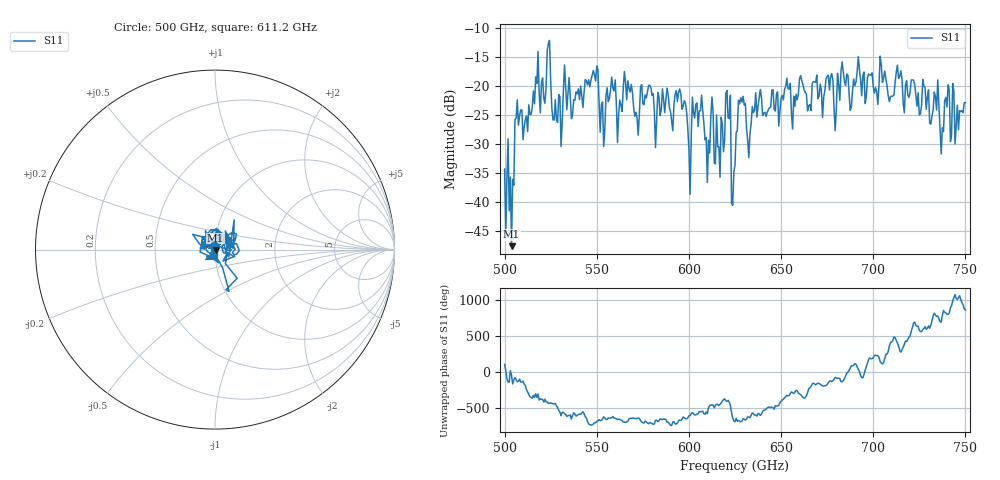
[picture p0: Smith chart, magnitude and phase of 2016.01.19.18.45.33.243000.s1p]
!Created with skrf (http://scikit-rf.org).
# GHz S RI R 50.0
!freq ReS11 ImS11
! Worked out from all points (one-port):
!   401 points, 500 GHz to 750 GHz, reference 50 ohm
!   lowest |S11| = -47.7 dB at 503.8 GHz (marker M1), VSWR 1.01, Z = 50.3 - j0.28 ohm
!   |S11| at or under -10 dB: start of sweep to end of sweep
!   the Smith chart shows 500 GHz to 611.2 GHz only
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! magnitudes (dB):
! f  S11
! 500 GHz  -34.4
! 503.8 GHz  -47.7
! 506.9 GHz  -22.5
! 523.8 GHz  -12.7
! 526.9 GHz  -25.9
! 531.2 GHz  -26.2
! 549.4 GHz  -19.2
! 553.1 GHz  -22.8
! 558.8 GHz  -20.4
! 562.5 GHz  -22.5
! 565.6 GHz  -19.4
! 571.9 GHz  -25.6
! 593.8 GHz  -22.7
! 600 GHz  -31.0
! 606.9 GHz  -21.6
! 610 GHz  -36.7
! 621.2 GHz  -25.5
! 625 GHz  -33.7
! 628.1 GHz  -22.1
! 632.5 GHz  -32.4
! 637.5 GHz  -23.5
! 656.2 GHz  -27.5
! 687.5 GHz  -24.2
! 718.8 GHz  -21.6
! 734.4 GHz  -24.2
! 736.9 GHz  -31.8
! 740 GHz  -23.7
! 750 GHz  -22.9
